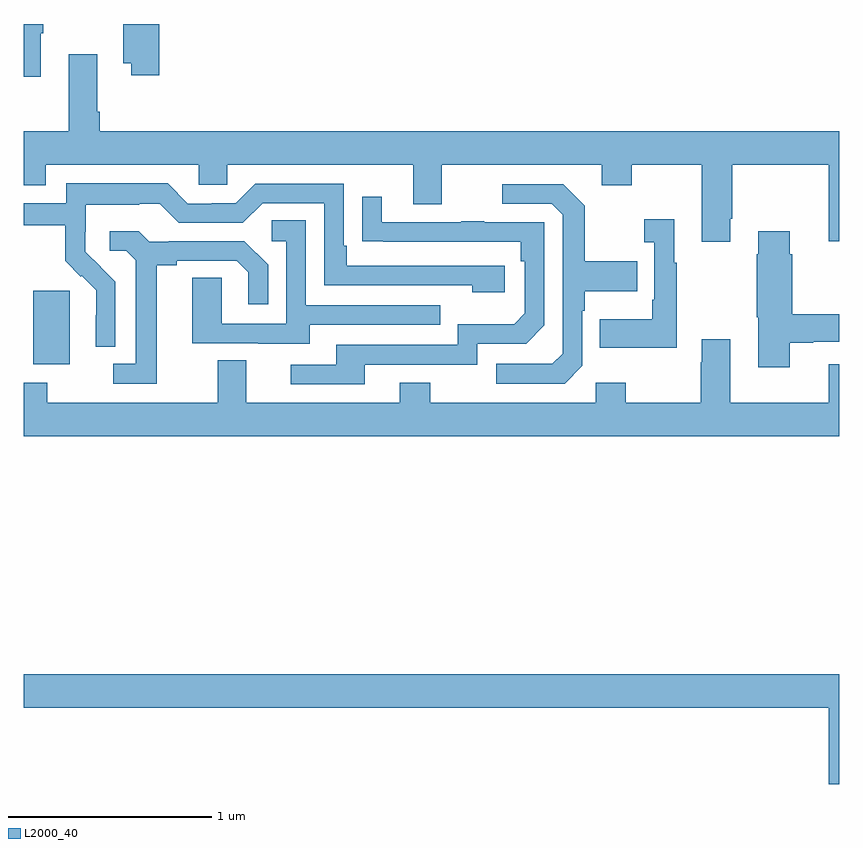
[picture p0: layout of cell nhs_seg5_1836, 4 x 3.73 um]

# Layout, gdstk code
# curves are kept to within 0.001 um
import gdstk
lib = gdstk.Library(unit=1e-6, precision=1e-09)
def R(c, l, rs):  # rectangles x0, y0, x1, y1
    for r in rs: c.add(gdstk.rectangle(r[:2], r[2:], *l))
def P(c, l, *ps):  # polygons
    for p in ps: c.add(gdstk.Polygon(p, *l))
L2000_40 = (2000, 40)

nhs_seg5_1836 = lib.new_cell('nhs_seg5_1836')
R(nhs_seg5_1836, L2000_40, [(221.045,841.13,221.224,841.491)])
P(nhs_seg5_1836, L2000_40, [(221.663,842.799),(221.488,842.799),(221.488,842.606),(221.528,842.606),(221.528,842.547),(221.663,842.547)],
  [(221.083,842.753),(221.095,842.753),(221.095,842.799),(221,842.799),(221,842.541),(221.083,842.541)],
  [(224.467,841.843),(224.475,841.843),(224.475,842.108),(224.948,842.108),(224.948,841.734),(225,841.734),(225,842.272),(221.372,842.272),(221.372,842.368),(221.359,842.368),(221.359,842.65),(221.219,842.65),(221.219,842.272),(221,842.272),(221,842.009),(221.107,842.009),(221.107,842.108),(221.859,842.108),(221.859,842.01),(221.997,842.01),(221.997,842.108),(222.911,842.108),(222.911,841.914),(223.051,841.914),(223.051,842.108),(223.835,842.108),(223.835,842.009),(223.983,842.009),(223.983,842.108),(224.327,842.108),(224.327,841.731),(224.467,841.731)],
  [(221.448,841.534),(221.302,841.682),(221.302,841.779),(221.304,841.779),(221.304,841.913),(221.567,841.913),(221.567,841.917),(221.667,841.917),(221.76,841.824),(222.075,841.824),(222.171,841.92),(222.474,841.92),(222.474,841.518),(223.199,841.518),(223.199,841.484),(223.36,841.484),(223.36,841.614),(222.583,841.614),(222.583,841.711),(222.57,841.711),(222.57,842.016),(222.135,842.016),(222.039,841.92),(221.921,841.92),(221.921,841.917),(221.805,841.917),(221.705,842.017),(221.208,842.017),(221.208,841.92),(221,841.92),(221,841.812),(221.203,841.812),(221.203,841.637),(221.28,841.56),(221.283,841.563),(221.354,841.493),(221.354,841.37),(221.352,841.37),(221.352,841.216),(221.448,841.216)],
  [(223.74,841.122),(223.74,841.391),(223.753,841.391),(223.753,841.487),(224.009,841.487),(224.009,841.635),(223.753,841.635),(223.753,841.907),(223.647,842.013),(223.347,842.013),(223.347,841.917),(223.59,841.917),(223.644,841.863),(223.644,841.182),(223.593,841.131),(223.317,841.131),(223.317,841.035),(223.653,841.035)],
  [(222.673,841.128),(223.224,841.128),(223.224,841.23),(223.464,841.23),(223.554,841.32),(223.554,841.827),(223.259,841.827),(223.259,841.832),(223.147,841.832),(223.147,841.827),(222.757,841.827),(222.757,841.951),(222.661,841.951),(222.661,841.732),(223.438,841.731),(223.438,841.634),(223.458,841.634),(223.458,841.38),(223.405,841.327),(223.128,841.327),(223.128,841.224),(222.533,841.224),(222.533,841.128),(222.309,841.128),(222.309,841.032),(222.673,841.032)],
  [(224.203,841.627),(224.191,841.627),(224.191,841.84),(224.043,841.84),(224.043,841.727),(224.094,841.727),(224.094,841.447),(224.082,841.447),(224.082,841.351),(223.825,841.351),(223.825,841.211),(224.203,841.211)],
  [(222.403,841.323),(223.043,841.323),(223.043,841.419),(222.384,841.419),(222.384,841.835),(222.216,841.835),(222.216,841.734),(222.288,841.734),(222.288,841.329),(221.97,841.329),(221.97,841.553),(221.825,841.553),(221.825,841.233),(222.149,841.233),(222.149,841.229),(222.403,841.229)],
  [(224.758,841.234),(224.874,841.234),(224.874,841.241),(225,841.241),(225,841.376),(224.771,841.376),(224.771,841.67),(224.758,841.67),(224.758,841.783),(224.603,841.783),(224.603,841.67),(224.596,841.67),(224.596,841.359),(224.603,841.359),(224.603,841.116),(224.758,841.116)],
  [(221.653,841.616),(221.749,841.616),(221.749,841.638),(222.044,841.638),(222.101,841.581),(222.101,841.425),(222.198,841.425),(222.198,841.618),(222.082,841.734),(221.71,841.734),(221.71,841.731),(221.616,841.731),(221.564,841.783),(221.421,841.783),(221.421,841.686),(221.502,841.686),(221.549,841.639),(221.549,841.131),(221.439,841.131),(221.439,841.035),(221.653,841.035)],
  [(225,841.129),(224.948,841.129),(224.948,840.94),(224.467,840.94),(224.467,841.252),(224.327,841.252),(224.327,841.139),(224.32,841.139),(224.32,840.94),(223.953,840.94),(223.953,841.039),(223.806,841.039),(223.806,840.94),(222.993,840.94),(222.993,841.039),(222.845,841.039),(222.845,840.94),(222.091,840.94),(222.091,841.148),(221.951,841.148),(221.951,840.94),(221.115,840.94),(221.115,841.039),(221,841.039),(221,840.776),(225,840.776)],
  [(225,839.608),(221,839.608),(221,839.444),(224.948,839.444),(224.948,839.07),(225,839.07)])

lib.write_gds('nhs_seg5_1836.gds')
